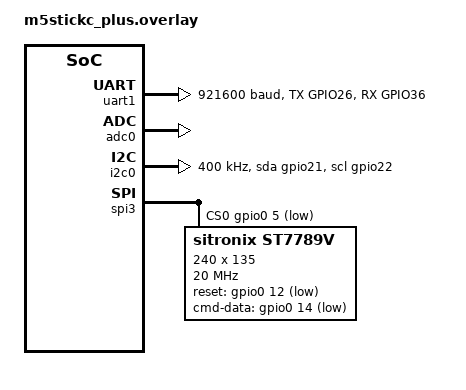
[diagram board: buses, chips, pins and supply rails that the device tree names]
/ {
  chosen {
    /delete-property/ zephyr,shell-uart;
    /delete-property/ zephyr,console;
    zephyr,display = &st7789v;
    //zephyr,console = &uart1;
    //zephyr,shell-uart = &uart1;
  };

  aliases {
    adcctrl = &adc0;
    i2csensor = &i2c0;
    spisensor = &spi2;
    guiuart = &uart0;
		auxserial = &uart1;
  };

	// Define the PPM output pin
	/*ppm_output: ppm_output {
		compatible = "ppm-output-gpio";
		gpios = <&gpio0 26 GPIO_ACTIVE_HIGH>;
	};*/
};

&pinctrl {
  uart1_default: uart1_default {
		group1 {
			pinmux = <UART1_TX_GPIO26>;
			output-high;
		};
		group2 {
			pinmux = <UART1_RX_GPIO36>;
			bias-pull-up;
		};
	};
};

// Debug Log Port
&uart1 {
  status = "okay";
  current-speed = < 921600 >;
  pinctrl-0 = <&uart1_default>;
  pinctrl-names = "default";
};

&adc0 {
  status = "okay";
};

&i2c0 {
	status = "okay";
	clock-frequency = <I2C_BITRATE_FAST>;
	sda-gpios = <&gpio0 21 GPIO_OPEN_DRAIN>;
	scl-gpios = <&gpio0 22 GPIO_OPEN_DRAIN>;
	pinctrl-0 = <&i2c0_sda_gpio21 &i2c0_scl_gpio22>;
	pinctrl-names = "default";
};

&spi3 {
	status = "okay";
  cs-gpios = < &gpio0 5 GPIO_ACTIVE_LOW >;

  st7789v: st7789v@0 {
    compatible = "sitronix,st7789v";
    reg = <0>;
    spi-max-frequency = <20000000>;
    reset-gpios = <&gpio0 12 GPIO_ACTIVE_LOW>;
    cmd-data-gpios = < &gpio0 14 GPIO_ACTIVE_LOW >;
    width = < 240 >;
    height = < 135 >;
    x-offset = < 0 >;
    y-offset = < 0 >;
    vcom = < 0x28 >; // bb
		gctrl = <0x35 >; // b7
		vrhs = <0x10>; //c3, vrh_value
		vdvs = <0x20>; //c4 vdv_value
		mdac = <0x04>; //36
		gamma = <0x01>;
		colmod = <0x55>; //3a
		lcm = <0x0c>; //c0
		porch-param = [0c 0c 00 33 33]; //b2
		cmd2en-param = [5a 69 02 01]; //df
		pwctrl1-param = [a4 a1]; //d0
		pvgam-param = [D0 00 02 07 0a 28 32 44 42 06 0e 12 14 17]; //e0
		nvgam-param = [D0 00 02 07 0a 28 31 54 47 0e 1c 17 1b 1e]; //e1
		ram-param = [00 F0]; //b0
		rgb-param = [CD 08 14];
  };
};

/delete-node/ &storage_partition;

&flash0 {
	status = "okay";
	partitions {
		compatible = "fixed-partitions";
		#address-cells = <1>;
		#size-cells = <1>;

		/* Reserve 60kB for the bootloader */
		boot_partition: partition@1000 {
			label = "mcuboot";
			reg = <0x00001000 0x0000F000>;
			read-only;
		};

		/* Reserve 1024kB for the application in slot 0 */
		slot0_partition: partition@10000 {
			label = "image-0";
			reg = <0x00010000 0x00100000>;
		};

		/* Reserve 1024kB for the application in slot 1 */
		slot1_partition: partition@110000 {
			label = "image-1";
			reg = <0x00110000 0x00100000>;
		};

		/* Reserve 256kB for the scratch partition */
		scratch_partition: partition@210000 {
			label = "image-scratch";
			reg = <0x00210000 0x00040000>;
		};

		storage_partition: partition@250000 {
			label = "storagept";
			reg = <0x00250000 0x00006000>;
		};
	};
};
